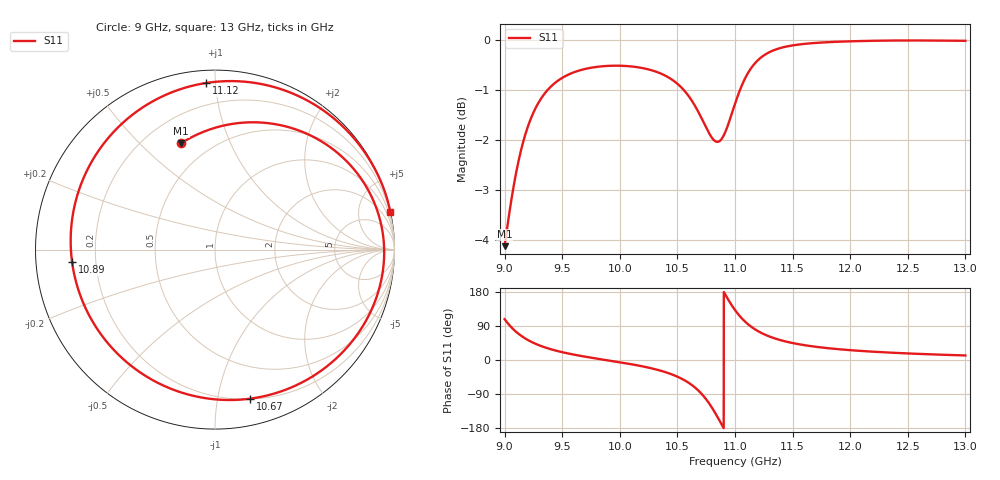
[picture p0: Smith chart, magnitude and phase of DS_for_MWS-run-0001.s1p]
! TOUCHSTONE file generated by CST DESIGN STUDIO
! Date and time: Tue Feb  4 14:35:40 2025
! Project name: C:\Work\MatlabApps\UnitCellOptimizationMatlab\CST\unitcell.cst
! Tree item: Tasks\Sweep1\SPara1\S-Parameters
! Header version: 2024
! Port assignment regex: !\s*Touchstone port\s*([0-9]+)\s*=\s*(CST MWS port|CST DES external port|CST DES block port)\s*(.+)\s* \(\"(.*)\"\)(\s*mode\s*([0-9]+))?.*
! Touchstone port assignment:
! Touchstone port 1 = CST DES external port 1 ("")
# GHz S MA R 50
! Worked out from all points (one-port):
!   4001 points, 9 GHz to 13 GHz, reference 50 ohm
!   lowest |S11| = -4.1 dB at 9 GHz (marker M1), VSWR 4.29, Z = 17.4 + j33.5 ohm
!   |S11| at or under -10 dB: nowhere
!   S11 on the Smith chart (normalised r, x): 9 GHz: 0.35, +0.67; 10.67 GHz: 0.20, -1.24; 10.89 GHz: 0.11, -0.04; 11.12 GHz: 0.07, +0.94; 13 GHz: 0.05, +9.52
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9  0.6216 107.7
9.098  0.7346 74.9
9.227  0.8342 48.7
9.348  0.8845 33.5
9.5  0.917 20.6
9.723  0.9374 7.5
10  0.9431 -6.0
10.301  0.9314 -23.9
10.41  0.9197 -33.4
10.5  0.9046 -44.0
10.589  0.882 -58.4
10.668  0.8534 -76.7
10.732  0.8253 -97.0
10.785  0.8033 -118.8
10.846  0.791 -149.2
10.893  0.7993 -175.0
10.942  0.8242 158.9
11  0.8636 131.8
11.055  0.8987 111.2
11.118  0.9295 93.1
11.197  0.9548 76.6
11.282  0.9709 64.0
11.381  0.9815 53.6
11.5  0.9884 44.8
11.709  0.9943 34.6
12  0.9978 25.9
12.5  0.9998 17.3
13  0.999 12.0
